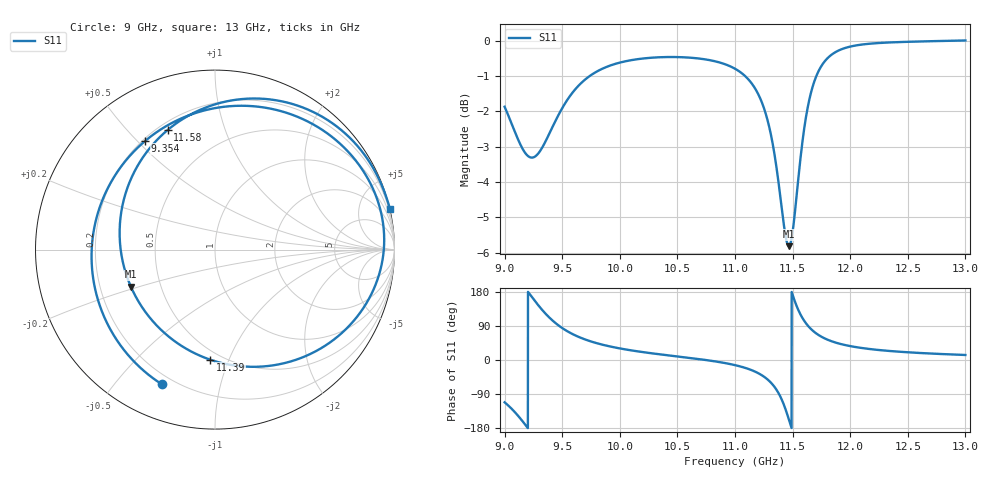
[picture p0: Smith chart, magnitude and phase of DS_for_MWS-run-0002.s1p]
! TOUCHSTONE file generated by CST DESIGN STUDIO
! Date and time: Tue Feb  4 18:15:28 2025
! Project name: C:\Work\MatlabApps\UnitCellOptimizationMatlab\CST\unitcell.cst
! Tree item: Tasks\Sweep1\SPara1\S-Parameters
! Header version: 2024
! Port assignment regex: !\s*Touchstone port\s*([0-9]+)\s*=\s*(CST MWS port|CST DES external port|CST DES block port)\s*(.+)\s* \(\"(.*)\"\)(\s*mode\s*([0-9]+))?.*
! Touchstone port assignment:
! Touchstone port 1 = CST DES external port 1 ("")
# GHz S MA R 50
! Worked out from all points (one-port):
!   4001 points, 9 GHz to 13 GHz, reference 50 ohm
!   lowest |S11| = -5.8 dB at 11.47 GHz (marker M1), VSWR 3.10, Z = 16.8 - j9.38 ohm
!   |S11| at or under -10 dB: nowhere
!   S11 on the Smith chart (normalised r, x): 9 GHz: 0.16, -0.67; 9.354 GHz: 0.21, +0.53; 11.39 GHz: 0.44, -0.86; 11.58 GHz: 0.24, +0.65; 13 GHz: -0.02, +8.63
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9  0.8064 -111.6
9.084  0.7467 -136.0
9.187  0.691 -173.8
9.263  0.6855 155.8
9.354  0.7197 122.7
9.423  0.7592 102.3
9.5  0.8026 84.3
9.605  0.8503 66.1
9.717  0.8858 52.2
10  0.9309 30.6
10.5  0.9478 9.4
11  0.9125 -13.5
11.134  0.8745 -25.6
11.233  0.818 -40.2
11.312  0.7361 -59.8
11.387  0.6136 -92.6
11.427  0.5449 -120.2
11.467  0.5122 -156.2
11.5  0.5364 172.0
11.537  0.6086 141.0
11.584  0.7166 111.6
11.617  0.7811 96.5
11.654  0.8371 83.5
11.759  0.9255 60.0
11.863  0.9612 46.9
12  0.9807 36.7
12.5  0.9961 20.4
13  1 13.2
